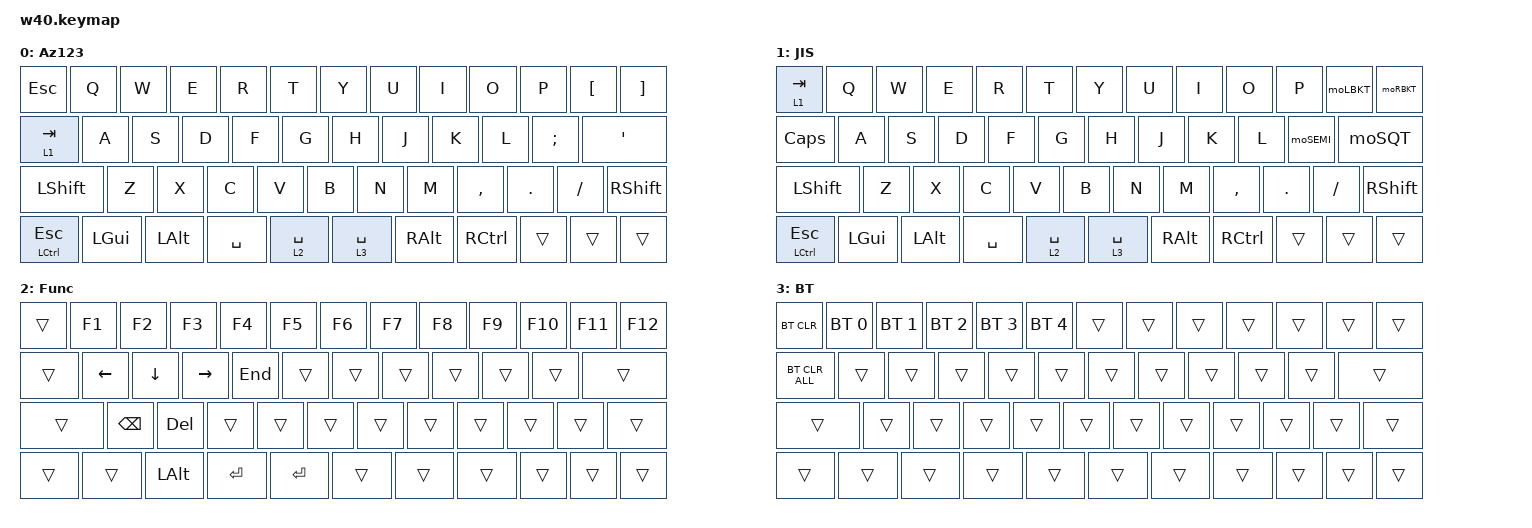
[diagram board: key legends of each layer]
#include <behaviors.dtsi>
#include <dt-bindings/zmk/keys.h>
#include <dt-bindings/zmk/pointing.h>
#include <dt-bindings/zmk/bt.h>
#include <behaviors/rgbled_widget.dtsi>

#define JIS 1
#define BT 3

&mt {
   flavor = "tap-preferred";
   quick_tap_ms = <125>;
   tapping_term_ms = <250>;
};
 
/ {
    macros {
        to_layer_0: to_layer_0 {
            compatible = "zmk,behavior-macro-one-param";
            #binding-cells = <1>;
            bindings = <&to 0 &macro_param_1to1 &kp MACRO_PLACEHOLDER>;
            label = "TO_LAYER_0";
        };
    };

    behaviors {
        lt_to_layer_0: lt_to_layer_0 {
            compatible = "zmk,behavior-hold-tap";
            label = "LAYER_TAP_TO_0";
            bindings = <&mo>, <&to_layer_0>;

            #binding-cells = <2>;
            tapping-term-ms = <200>;
        };
        toJIS: toJIS {
            compatible = "zmk,behavior-hold-tap";
            label = "toJIS";
            #binding-cells = <2>;
            tapping-term-ms = <200>;
            quick-tap-ms = <125>;
            bindings = <&tog>, <&kp>;
        };
        mo2: mo2 {
            compatible = "zmk,behavior-mod-morph";
            #binding-cells = <0>;
            bindings = <&kp N2>, <&kp LBKT>;
            mods = <(MOD_LSFT|MOD_RSFT)>;
        };
        mo6: mo6 {
            compatible = "zmk,behavior-mod-morph";
            #binding-cells = <0>;
            bindings = <&kp N6>, <&kp EQUAL>;
            mods = <(MOD_LSFT|MOD_RSFT)>;
        };
        mo7: mo7 {
            compatible = "zmk,behavior-mod-morph";
            #binding-cells = <0>;
            bindings = <&kp N7>, <&kp LS(N6)>;
            mods = <(MOD_LSFT|MOD_RSFT)>;
        };
        mo8: mo8 {
            compatible = "zmk,behavior-mod-morph";
            #binding-cells = <0>;
            bindings = <&kp N8>, <&kp LS(SQT)>;
            mods = <(MOD_LSFT|MOD_RSFT)>;
        };
        mo9: mo9 {
            compatible = "zmk,behavior-mod-morph";
            #binding-cells = <0>;
            bindings = <&kp N9>, <&kp LS(N8)>;
            mods = <(MOD_LSFT|MOD_RSFT)>;
        };
        mo0: mo0 {
            compatible = "zmk,behavior-mod-morph";
            #binding-cells = <0>;
            bindings = <&kp N0>, <&kp LS(N9)>;
            mods = <(MOD_LSFT|MOD_RSFT)>;
        };
        moMINUS: moMINUS {
            compatible = "zmk,behavior-mod-morph";
            #binding-cells = <0>;
            bindings = <&kp MINUS>, <&kp LS(INT_RO)>;
            mods = <(MOD_LSFT|MOD_RSFT)>;
        };
        moEQUAL: moEQUAL {
            compatible = "zmk,behavior-mod-morph";
            #binding-cells = <0>;
            bindings = <&kp LS(MINUS)>, <&kp COLON>;
            mods = <(MOD_LSFT|MOD_RSFT)>;
        };
        moLBKT: moLBKT {
            compatible = "zmk,behavior-mod-morph";
            #binding-cells = <0>;
            bindings = <&kp RBKT>, <&kp LS(RBRC)>;
            mods = <(MOD_LSFT|MOD_RSFT)>;
        };
        moRBKT: moRBKT {
            compatible = "zmk,behavior-mod-morph";
            #binding-cells = <0>;
            bindings = <&kp BSLH>, <&kp LS(BSLH)>;
            mods = <(MOD_LSFT|MOD_RSFT)>;
        };
        moSEMI: moSEMI {
            compatible = "zmk,behavior-mod-morph";
            #binding-cells = <0>;
            bindings = <&kp SEMI>, <&kp SQT>;
            mods = <(MOD_LSFT|MOD_RSFT)>;
        };
        moSQT: moSQT {
            compatible = "zmk,behavior-mod-morph";
            #binding-cells = <0>;
            bindings = <&kp LS(N7)>, <&kp LS(N2)>;
            mods = <(MOD_LSFT|MOD_RSFT)>;
        };
        moGRAVE: moGRAVE {
            compatible = "zmk,behavior-mod-morph";
            #binding-cells = <0>;
            bindings = <&kp LS(LBRC)>, <&kp LS(EQUAL)>;
            mods = <(MOD_LSFT|MOD_RSFT)>;
        };
    }; 
 
   keymap {
        compatible = "zmk,keymap";
        default_layer {
            label = "Az123";
            bindings = <
&kp ESC        &kp Q     &kp W      &kp E      &kp R      &kp T        &kp Y     &kp U      &kp I      &kp O      &kp P     &kp LBKT   &kp RBKT
&toJIS 1 TAB   &kp A     &kp S      &kp D      &kp F      &kp G        &kp H     &kp J      &kp K      &kp L      &kp SEMI  &kp SQT
&kp LSHFT      &kp Z     &kp X      &kp C      &kp V      &kp B        &kp N     &kp M      &kp COMMA  &kp DOT    &kp FSLH  &kp RSHFT
&mt LCTL ESC   &kp LGUI  &kp LALT   &kp SPACE  &lt 2 SPACE &lt 3 SPACE &kp RALT  &kp RCTL   &trans     &trans     &trans
>;
       };

        jis_layer {
           label = "JIS";
           bindings = <
&toJIS 1 TAB   &kp Q     &kp W      &kp E      &kp R      &kp T        &kp Y     &kp U      &kp I      &kp O      &kp P     &moLBKT    &moRBKT
&kp CAPS       &kp A     &kp S      &kp D      &kp F      &kp G        &kp H     &kp J      &kp K      &kp L      &moSEMI   &moSQT
&kp LSHFT      &kp Z     &kp X      &kp C      &kp V      &kp B        &kp N     &kp M      &kp COMMA  &kp DOT    &kp FSLH  &kp RSHFT
&mt LCTL ESC   &kp LGUI  &kp LALT   &kp SPACE  &lt 2 SPACE &lt 3 SPACE &kp RALT  &kp RCTL   &trans     &trans     &trans
>;
       };

       function_layer {
           label = "Func";
           bindings = <
&trans        &kp F1     &kp F2     &kp F3     &kp F4     &kp F5       &kp F6    &kp F7     &kp F8     &kp F9     &kp F10   &kp F11    &kp F12
&trans        &kp LEFT   &kp DOWN   &kp RIGHT  &kp END    &trans       &trans    &trans     &trans     &trans     &trans    &trans
&trans        &kp BKSP   &kp DEL    &trans     &trans     &trans       &trans    &trans     &trans     &trans     &trans    &trans
&trans        &trans     &kp LALT   &kp ENTER  &kp ENTER  &trans       &trans    &trans     &trans     &trans     &trans
>;
       };

        bt_layer {
           display-name = "BT";    
           label = "BT";
           bindings = <
&bt BT_CLR     &bt BT_SEL 0 &bt BT_SEL 1 &bt BT_SEL 2 &bt BT_SEL 3 &bt BT_SEL 4  &trans  &trans  &trans  &trans  &trans  &trans  &trans
&bt BT_CLR_ALL &trans       &trans       &trans       &trans       &trans        &trans  &trans  &trans  &trans  &trans  &trans
&trans         &trans       &trans       &trans       &trans       &trans        &trans  &trans  &trans  &trans  &trans  &trans
&trans         &trans       &trans       &trans       &trans       &trans        &trans  &trans  &trans  &trans  &trans
>;
        };
    };
};

/ {
    aliases {
        led-red = &led0;
        led-green = &led1;
        led-blue = &led2;
    };

    leds {
        compatible = "gpio-leds";
        status = "okay";
        led0: led_0 {
            gpios = <&gpio0 26 GPIO_ACTIVE_LOW>;  // red LED, connected to P0.26
        };
        led1: led_1 {
            gpios = <&gpio0 30 GPIO_ACTIVE_LOW>;  // green LED, connected to P0.30
        };
        led2: led_2 {
            gpios = <&gpio0 6 GPIO_ACTIVE_LOW>;  // blue LED, connected to P0.06
        };
    };
};
